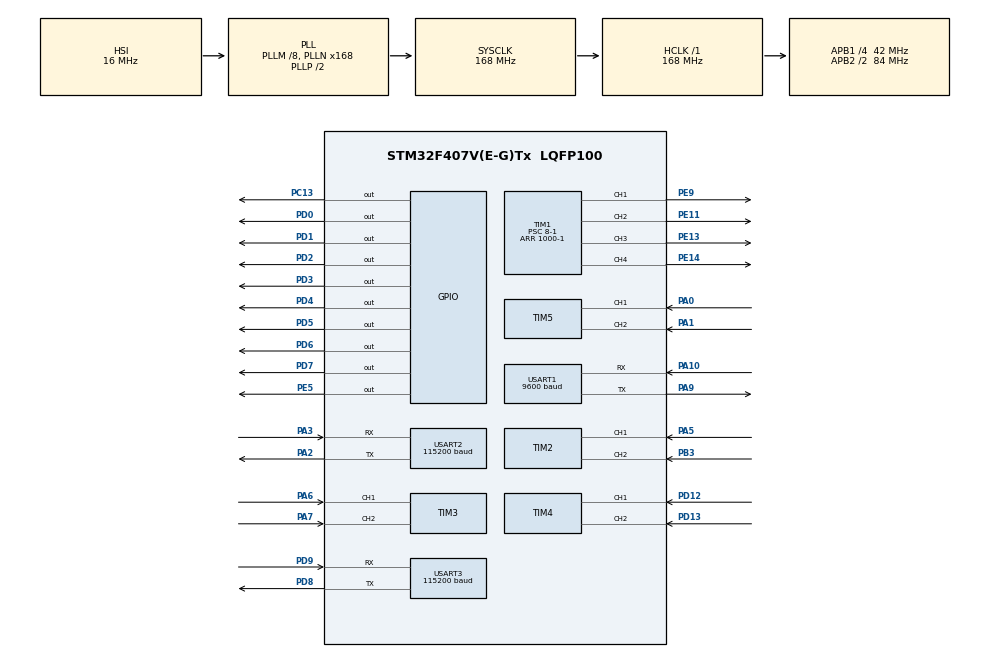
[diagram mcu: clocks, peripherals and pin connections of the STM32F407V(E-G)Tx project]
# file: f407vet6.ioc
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Dma.Request0=USART1_RX
Dma.Request1=USART1_TX
Dma.Request2=USART2_RX
Dma.Request3=USART2_TX
Dma.USART1_RX.0.Direction=DMA_PERIPH_TO_MEMORY
Dma.USART1_RX.0.FIFOMode=DMA_FIFOMODE_DISABLE
Dma.USART1_RX.0.Instance=DMA2_Stream2
Dma.USART1_RX.0.MemDataAlignment=DMA_MDATAALIGN_BYTE
Dma.USART1_RX.0.MemInc=DMA_MINC_ENABLE
Dma.USART1_RX.0.Mode=DMA_CIRCULAR
Dma.USART1_RX.0.PeriphDataAlignment=DMA_PDATAALIGN_BYTE
Dma.USART1_RX.0.PeriphInc=DMA_PINC_DISABLE
Dma.USART1_RX.0.Priority=DMA_PRIORITY_LOW
Dma.USART1_TX.1.Direction=DMA_MEMORY_TO_PERIPH
Dma.USART1_TX.1.FIFOMode=DMA_FIFOMODE_DISABLE
Dma.USART1_TX.1.Instance=DMA2_Stream7
Dma.USART1_TX.1.MemDataAlignment=DMA_MDATAALIGN_BYTE
Dma.USART1_TX.1.MemInc=DMA_MINC_ENABLE
Dma.USART1_TX.1.Mode=DMA_NORMAL
Dma.USART1_TX.1.PeriphDataAlignment=DMA_PDATAALIGN_BYTE
Dma.USART1_TX.1.PeriphInc=DMA_PINC_DISABLE
Dma.USART1_TX.1.Priority=DMA_PRIORITY_LOW
Dma.USART2_RX.2.Direction=DMA_PERIPH_TO_MEMORY
Dma.USART2_RX.2.FIFOMode=DMA_FIFOMODE_DISABLE
Dma.USART2_RX.2.Instance=DMA1_Stream5
Dma.USART2_RX.2.MemDataAlignment=DMA_MDATAALIGN_BYTE
Dma.USART2_RX.2.MemInc=DMA_MINC_ENABLE
Dma.USART2_RX.2.Mode=DMA_CIRCULAR
Dma.USART2_RX.2.PeriphDataAlignment=DMA_PDATAALIGN_BYTE
Dma.USART2_RX.2.PeriphInc=DMA_PINC_DISABLE
Dma.USART2_RX.2.Priority=DMA_PRIORITY_LOW
Dma.USART2_TX.3.Direction=DMA_MEMORY_TO_PERIPH
Dma.USART2_TX.3.FIFOMode=DMA_FIFOMODE_DISABLE
Dma.USART2_TX.3.Instance=DMA1_Stream6
Dma.USART2_TX.3.MemDataAlignment=DMA_MDATAALIGN_BYTE
Dma.USART2_TX.3.MemInc=DMA_MINC_ENABLE
Dma.USART2_TX.3.Mode=DMA_NORMAL
Dma.USART2_TX.3.PeriphDataAlignment=DMA_PDATAALIGN_BYTE
Dma.USART2_TX.3.PeriphInc=DMA_PINC_DISABLE
Dma.USART2_TX.3.Priority=DMA_PRIORITY_LOW
FREERTOS.Tasks01=defaultTask,24,128,StartDefaultTask,Default,NULL,Dynamic,NULL,NULL;MonitorTask,8,512,RTOS_Monitor_StartTask,As weak,NULL,Dynamic,NULL,NULL;ControlTask,48,1024,RTOS_Control_StartTask,As weak,NULL,Dynamic,NULL,NULL;UARTTask,24,1024,RTOS_UART_StartTask,As weak,NULL,Dynamic,NULL,NULL
Mcu.Family=STM32F4
Mcu.Name=STM32F407V(E-G)Tx
Mcu.Package=LQFP100
NVIC.DMA1_Stream5_IRQn=true\:5\:0\:false\:false\:true\:true\:false\:true\:true
NVIC.DMA1_Stream6_IRQn=true\:5\:0\:false\:false\:true\:true\:false\:true\:true
NVIC.DMA2_Stream2_IRQn=true\:5\:0\:false\:false\:true\:true\:false\:true\:true
NVIC.DMA2_Stream7_IRQn=true\:5\:0\:false\:false\:true\:true\:false\:true\:true
NVIC.PriorityGroup=NVIC_PRIORITYGROUP_4
NVIC.TIM7_IRQn=true\:15\:0\:false\:false\:true\:false\:false\:true\:true
NVIC.TimeBase=TIM7_IRQn
NVIC.TimeBaseIP=TIM7
NVIC.USART1_IRQn=true\:5\:0\:false\:false\:true\:true\:true\:true\:true
NVIC.USART3_IRQn=true\:5\:0\:false\:false\:true\:true\:true\:true\:true
PA0-WKUP.Signal=S_TIM5_CH1
PA1.Signal=S_TIM5_CH2
PA10.Mode=Asynchronous
PA10.Signal=USART1_RX
PA13.Mode=Serial_Wire
PA13.Signal=SYS_JTMS-SWDIO
PA14.Mode=Serial_Wire
PA14.Signal=SYS_JTCK-SWCLK
PA2.Mode=Asynchronous
PA2.Signal=USART2_TX
PA3.Mode=Asynchronous
PA3.Signal=USART2_RX
PA5.Signal=S_TIM2_CH1_ETR
PA6.Signal=S_TIM3_CH1
PA7.Signal=S_TIM3_CH2
PA9.Mode=Asynchronous
PA9.Signal=USART1_TX
PB3.Signal=S_TIM2_CH2
PC13-ANTI_TAMP.Signal=GPIO_Output
PD0.Signal=GPIO_Output
PD1.Signal=GPIO_Output
PD12.Signal=S_TIM4_CH1
PD13.Signal=S_TIM4_CH2
PD2.Signal=GPIO_Output
PD3.Signal=GPIO_Output
PD4.Signal=GPIO_Output
PD5.Signal=GPIO_Output
PD6.Signal=GPIO_Output
PD7.Signal=GPIO_Output
PD8.Mode=Asynchronous
PD8.Signal=USART3_TX
PD9.Mode=Asynchronous
PD9.Signal=USART3_RX
PE11.Signal=S_TIM1_CH2
PE13.Signal=S_TIM1_CH3
PE14.Signal=S_TIM1_CH4
PE5.Signal=GPIO_Output
PE9.Signal=S_TIM1_CH1
PH0-OSC_IN.Mode=HSE-External-Oscillator
PH0-OSC_IN.Signal=RCC_OSC_IN
PH1-OSC_OUT.Mode=HSE-External-Oscillator
PH1-OSC_OUT.Signal=RCC_OSC_OUT
ProjectManager.HeapSize=0x200
ProjectManager.StackSize=0x400
ProjectManager.TargetToolchain=CMake
RCC.48MHZClocksFreq_Value=84000000
RCC.AHBFreq_Value=168000000
RCC.APB1CLKDivider=RCC_HCLK_DIV4
RCC.APB1Freq_Value=42000000
RCC.APB1TimFreq_Value=84000000
RCC.APB2CLKDivider=RCC_HCLK_DIV2
RCC.APB2Freq_Value=84000000
RCC.APB2TimFreq_Value=168000000
RCC.CortexFreq_Value=168000000
RCC.HCLKFreq_Value=168000000
RCC.HSE_VALUE=25000000
RCC.HSI_VALUE=16000000
RCC.LSE_VALUE=32768
RCC.PLLM=8
RCC.PLLN=168
RCC.SYSCLKFreq_VALUE=168000000
RCC.SYSCLKSource=RCC_SYSCLKSOURCE_PLLCLK
RCC.VCOOutputFreq_Value=336000000
SH.S_TIM1_CH1.0=TIM1_CH1,PWM Generation1 CH1
SH.S_TIM1_CH2.0=TIM1_CH2,PWM Generation2 CH2
SH.S_TIM1_CH3.0=TIM1_CH3,PWM Generation3 CH3
SH.S_TIM1_CH4.0=TIM1_CH4,PWM Generation4 CH4
SH.S_TIM2_CH1_ETR.0=TIM2_CH1,Encoder_Interface
SH.S_TIM2_CH2.0=TIM2_CH2,Encoder_Interface
SH.S_TIM3_CH1.0=TIM3_CH1,Encoder_Interface
SH.S_TIM3_CH2.0=TIM3_CH2,Encoder_Interface
SH.S_TIM4_CH1.0=TIM4_CH1,Encoder_Interface
SH.S_TIM4_CH2.0=TIM4_CH2,Encoder_Interface
SH.S_TIM5_CH1.0=TIM5_CH1,Encoder_Interface
SH.S_TIM5_CH2.0=TIM5_CH2,Encoder_Interface
TIM1.Channel-PWM\ Generation1\ CH1=TIM_CHANNEL_1
TIM1.Channel-PWM\ Generation2\ CH2=TIM_CHANNEL_2
TIM1.Channel-PWM\ Generation3\ CH3=TIM_CHANNEL_3
TIM1.Channel-PWM\ Generation4\ CH4=TIM_CHANNEL_4
TIM1.Period=1000-1
TIM1.Prescaler=8-1
TIM2.EncoderMode=TIM_ENCODERMODE_TI12
TIM2.IC1Filter=15
TIM2.IC2Filter=15
TIM3.EncoderMode=TIM_ENCODERMODE_TI12
TIM3.IC1Filter=15
TIM3.IC2Filter=15
TIM4.EncoderMode=TIM_ENCODERMODE_TI12
TIM4.IC1Filter=15
TIM4.IC2Filter=15
TIM5.EncoderMode=TIM_ENCODERMODE_TI12
TIM5.IC1Filter=15
TIM5.IC2Filter=15
USART1.BaudRate=9600
USART1.VirtualMode=VM_ASYNC
USART2.BaudRate=115200
USART2.VirtualMode=VM_ASYNC
USART3.BaudRate=115200
USART3.VirtualMode=VM_ASYNC
VP_FREERTOS_VS_CMSIS_V2.Mode=CMSIS_V2
VP_SYS_VS_tim7.Mode=TIM7
VP_TIM1_VS_ClockSourceINT.Mode=Internal
board=custom

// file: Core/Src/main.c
/* USER CODE BEGIN Header */
/**
  ******************************************************************************
  * @file           : main.c
  * @brief          : Main program body
  ******************************************************************************
  * @attention
  *
  * Copyright (c) 2026 STMicroelectronics.
  * All rights reserved.
  *
  * This software is licensed under terms that can be found in the LICENSE file
  * in the root directory of this software component.
  * If no LICENSE file comes with this software, it is provided AS-IS.
  *
  ******************************************************************************
  */
/* USER CODE END Header */
#include "main.h"
#include "cmsis_os.h"
#include "dma.h"
#include "tim.h"
#include "usart.h"
#include "gpio.h"

/* USER CODE BEGIN Includes */
#include "app_car.h"
#include "crc.h"
#include "rng.h"
#include "system_delay.h"
#include "system_log.h"
#if defined(SYS_LOG_USE_RTT)
#include "system_log_rtt.h"
#endif
/* USER CODE END Includes */

/* USER CODE BEGIN PV */
#if defined(SYS_LOG_USE_RTT)
static system_log_rtt_t s_log_rtt;
#endif

/* USER CODE END PV */

void SystemClock_Config(void);
void MX_FREERTOS_Init(void);

int main(void)
{

  /* MCU Configuration--------------------------------------------------------*/

  /* Reset of all peripherals, Initializes the Flash interface and the Systick. */
  HAL_Init();

  /* Configure the system clock */
  SystemClock_Config();

  /* Initialize all configured peripherals */
  MX_GPIO_Init();
  MX_DMA_Init();
  MX_TIM1_Init();
  MX_USART1_UART_Init();
  MX_TIM2_Init();
  MX_TIM3_Init();
  MX_TIM4_Init();
  MX_TIM5_Init();
  MX_USART2_UART_Init();
  MX_USART3_UART_Init();
  /* USER CODE BEGIN 2 */
  MX_CRC_Init();
  MX_RNG_Init();
  Sys_Delay_Init();
#if defined(SYS_LOG_USE_RTT)
  Sys_Log_RTT_Init(&s_log_rtt, "rtt", 0u);
  Sys_Log_Init(&s_log_rtt.base);
  Sys_Log_SetLevel(SYS_LOG_LEVEL_INFO);
  SYS_LOG_INFO("BOOT", "RTT log initialized");
#endif
  platform_status_t car_status = App_Car_Init();
  if (car_status != PLATFORM_STATUS_OK)
  {
    SYS_LOG_ERROR(
      "BOOT",
      "car initialization failed: %u",
      (unsigned int)car_status
    );
    Error_Handler();
  }
  /* USER CODE END 2 */

  /* Init scheduler */
  osKernelInitialize();  /* Call init function for freertos objects (in cmsis_os2.c) */
  MX_FREERTOS_Init();

  /* Start scheduler */
  osKernelStart();

  /* We should never get here as control is now taken by the scheduler */

  /* Infinite loop */
  while (1)
  {

  }
}

void SystemClock_Config(void)
{
  RCC_OscInitTypeDef RCC_OscInitStruct = {0};
  RCC_ClkInitTypeDef RCC_ClkInitStruct = {0};

  /** Configure the main internal regulator output voltage
  */
  __HAL_RCC_PWR_CLK_ENABLE();
  __HAL_PWR_VOLTAGESCALING_CONFIG(PWR_REGULATOR_VOLTAGE_SCALE1);

  /** Initializes the RCC Oscillators according to the specified parameters
  * in the RCC_OscInitTypeDef structure.
  */
  RCC_OscInitStruct.OscillatorType = RCC_OSCILLATORTYPE_HSI;
  RCC_OscInitStruct.HSIState = RCC_HSI_ON;
  RCC_OscInitStruct.HSICalibrationValue = RCC_HSICALIBRATION_DEFAULT;
  RCC_OscInitStruct.PLL.PLLState = RCC_PLL_ON;
  RCC_OscInitStruct.PLL.PLLSource = RCC_PLLSOURCE_HSI;
  RCC_OscInitStruct.PLL.PLLM = 8;
  RCC_OscInitStruct.PLL.PLLN = 168;
  RCC_OscInitStruct.PLL.PLLP = RCC_PLLP_DIV2;
  RCC_OscInitStruct.PLL.PLLQ = 4;
  if (HAL_RCC_OscConfig(&RCC_OscInitStruct) != HAL_OK)
  {
    Error_Handler();
  }

  /** Initializes the CPU, AHB and APB buses clocks
  */
  RCC_ClkInitStruct.ClockType = RCC_CLOCKTYPE_HCLK|RCC_CLOCKTYPE_SYSCLK
                              |RCC_CLOCKTYPE_PCLK1|RCC_CLOCKTYPE_PCLK2;
  RCC_ClkInitStruct.SYSCLKSource = RCC_SYSCLKSOURCE_PLLCLK;
  RCC_ClkInitStruct.AHBCLKDivider = RCC_SYSCLK_DIV1;
  RCC_ClkInitStruct.APB1CLKDivider = RCC_HCLK_DIV4;
  RCC_ClkInitStruct.APB2CLKDivider = RCC_HCLK_DIV2;

  if (HAL_RCC_ClockConfig(&RCC_ClkInitStruct, FLASH_LATENCY_5) != HAL_OK)
  {
    Error_Handler();
  }
}

void HAL_TIM_PeriodElapsedCallback(TIM_HandleTypeDef *htim)
{
  if (htim->Instance == TIM7)
  {
    HAL_IncTick();
  }
}

void Error_Handler(void)
{
  __disable_irq();
  while (1)
  {
  }
}

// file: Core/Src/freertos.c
/* USER CODE BEGIN Header */
/**
  ******************************************************************************
  * File Name          : freertos.c
  * Description        : Code for freertos applications
  ******************************************************************************
  * @attention
  *
  * Copyright (c) 2026 STMicroelectronics.
  * All rights reserved.
  *
  * This software is licensed under terms that can be found in the LICENSE file
  * in the root directory of this software component.
  * If no LICENSE file comes with this software, it is provided AS-IS.
  *
  ******************************************************************************
  */
/* USER CODE END Header */

#include "FreeRTOS.h"
#include "task.h"
#include "main.h"
#include "cmsis_os.h"

/* Definitions for defaultTask */
osThreadId_t defaultTaskHandle;
const osThreadAttr_t defaultTask_attributes = {
  .name = "defaultTask",
  .stack_size = 128 * 4,
  .priority = (osPriority_t) osPriorityNormal,
};
/* Definitions for MonitorTask */
osThreadId_t MonitorTaskHandle;
const osThreadAttr_t MonitorTask_attributes = {
  .name = "MonitorTask",
  .stack_size = 512 * 4,
  .priority = (osPriority_t) osPriorityLow,
};
/* Definitions for ControlTask */
osThreadId_t ControlTaskHandle;
const osThreadAttr_t ControlTask_attributes = {
  .name = "ControlTask",
  .stack_size = 1024 * 4,
  .priority = (osPriority_t) osPriorityRealtime,
};
/* Definitions for UARTTask */
osThreadId_t UARTTaskHandle;
const osThreadAttr_t UARTTask_attributes = {
  .name = "UARTTask",
  .stack_size = 1024 * 4,
  .priority = (osPriority_t) osPriorityNormal,
};

void StartDefaultTask(void *argument);
void RTOS_Monitor_StartTask(void *argument);
void RTOS_Control_StartTask(void *argument);
void RTOS_UART_StartTask(void *argument);

void MX_FREERTOS_Init(void); /* (MISRA C 2004 rule 8.1) */

void MX_FREERTOS_Init(void) {

  /* Create the thread(s) */
  /* creation of defaultTask */
  defaultTaskHandle = osThreadNew(StartDefaultTask, NULL, &defaultTask_attributes);

  /* creation of MonitorTask */
  MonitorTaskHandle = osThreadNew(RTOS_Monitor_StartTask, NULL, &MonitorTask_attributes);

  /* creation of ControlTask */
  ControlTaskHandle = osThreadNew(RTOS_Control_StartTask, NULL, &ControlTask_attributes);

  /* creation of UARTTask */
  UARTTaskHandle = osThreadNew(RTOS_UART_StartTask, NULL, &UARTTask_attributes);

}

void StartDefaultTask(void *argument)
{
  /* USER CODE BEGIN StartDefaultTask */
  (void)argument;
  /* Infinite loop */
  for(;;)
  {
    osDelay(1);
  }
  /* USER CODE END StartDefaultTask */
}

/* USER CODE BEGIN Header_RTOS_Monitor_StartTask */
/**
* @brief 监控任务弱默认实现。
* @see RTOS_Monitor_StartTask
*/
/* USER CODE END Header_RTOS_Monitor_StartTask */
__weak void RTOS_Monitor_StartTask(void *argument)
{
  /* USER CODE BEGIN RTOS_Monitor_StartTask */
  (void)argument;
  /* Infinite loop */
  for(;;)
  {
    osDelay(1);
  }
  /* USER CODE END RTOS_Monitor_StartTask */
}

/* USER CODE BEGIN Header_RTOS_Control_StartTask */
/**
* @brief 控制任务弱默认实现。
* @see RTOS_Control_StartTask
*/
/* USER CODE END Header_RTOS_Control_StartTask */
__weak void RTOS_Control_StartTask(void *argument)
{
  /* USER CODE BEGIN RTOS_Control_StartTask */
  (void)argument;
  /* Infinite loop */
  for(;;)
  {
    osDelay(1);
  }
  /* USER CODE END RTOS_Control_StartTask */
}

/* USER CODE BEGIN Header_RTOS_UART_StartTask */
/**
* @brief UART 任务弱默认实现。
* @see RTOS_UART_StartTask
*/
/* USER CODE END Header_RTOS_UART_StartTask */
__weak void RTOS_UART_StartTask(void *argument)
{
  /* USER CODE BEGIN RTOS_UART_StartTask */
  (void)argument;
  /* Infinite loop */
  for(;;)
  {
    osDelay(1);
  }
  /* USER CODE END RTOS_UART_StartTask */
}
